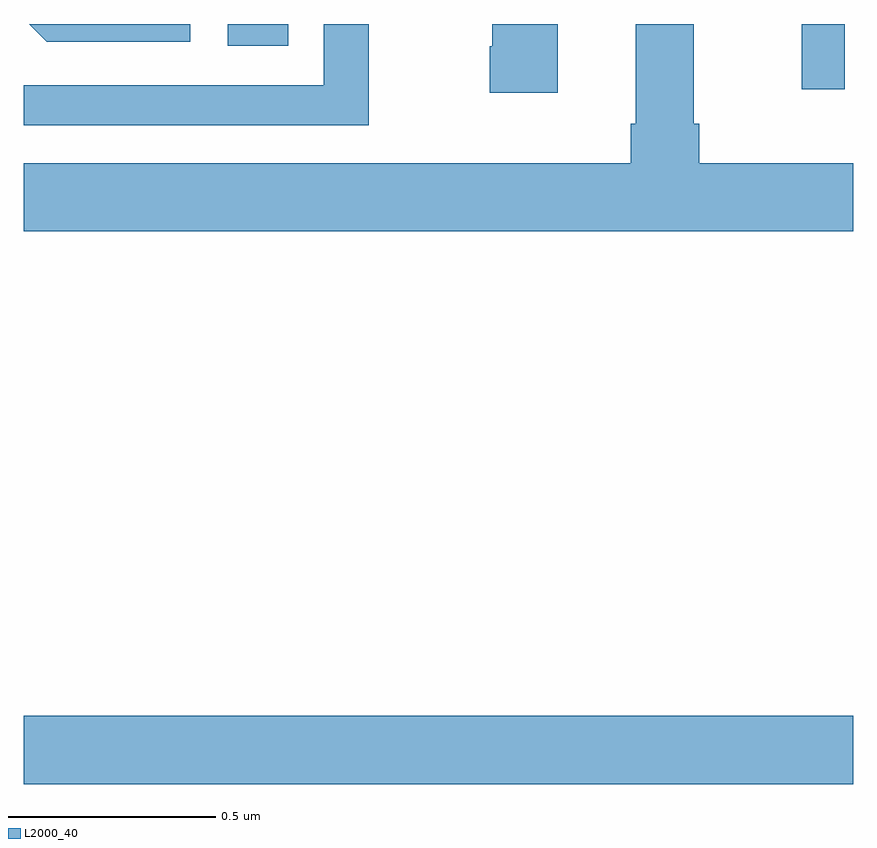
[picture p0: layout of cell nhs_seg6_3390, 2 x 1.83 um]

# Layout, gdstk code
import gdstk
lib = gdstk.Library(unit=1e-6, precision=1e-09)
def R(c, l, rs):  # rectangles x0, y0, x1, y1
    for r in rs: c.add(gdstk.rectangle(r[:2], r[2:], *l))
def P(c, l, *ps):  # polygons
    for p in ps: c.add(gdstk.Polygon(p, *l))
L2000_40 = (2000, 40)

nhs_seg6_3390 = lib.new_cell('nhs_seg6_3390')
R(nhs_seg6_3390, L2000_40, [(156,948.668,158,948.832), (157.876,950.343,157.979,950.5), (156.492,950.448,156.638,950.5)])
P(nhs_seg6_3390, L2000_40, [(158,950.164),(157.628,950.164),(157.628,950.26),(157.615,950.26),(157.615,950.5),(157.475,950.5),(157.475,950.26),(157.463,950.26),(157.463,950.164),(156,950.164),(156,950),(158,950)],
  [(157.288,950.5),(157.13,950.5),(157.13,950.446),(157.123,950.446),(157.123,950.334),(157.288,950.334)],
  [(156.402,950.5),(156.013,950.5),(156.056,950.457),(156.402,950.457)],
  [(156.832,950.5),(156.723,950.5),(156.723,950.352),(156,950.352),(156,950.256),(156.832,950.256)])

lib.write_gds('nhs_seg6_3390.gds')
